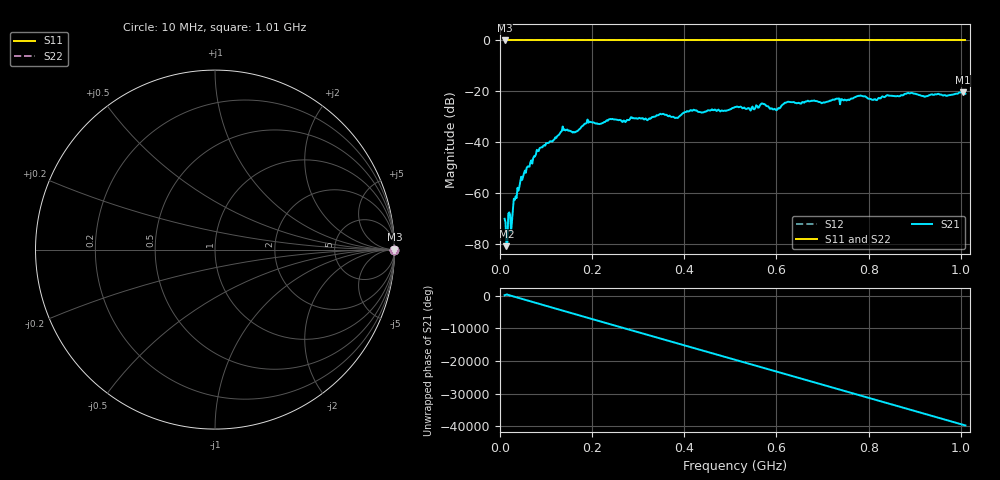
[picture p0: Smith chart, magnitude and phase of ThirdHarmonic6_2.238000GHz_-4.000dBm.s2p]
! 8/17/2025 2:35:48 AM
! C:\ANRITSUVNA\TEMP\TEMP.S2P
! CHANNEL.1
! TR.MEASUREMENT
! RAW.DATA
! RF.CORRECTION.OFF
! AVERAGING.OFF
! IF.BANDWIDTH: 5KHZ
! SWEEPTYPE:  FREQ.SWEEP(Linear)
! Reference Plane Port Info
! PORT:  PORT1  PORT2
! DISTANCE:  0  m  0  m
! TIME:  0  s  0  s
! PHASE.OFFSET:  0  deg.  0  deg.
! LOSS:  0  dB  0  dB
! REF.LOSS:  0  dB  0  dB
! REF.FREQ:  0  Hz  0  Hz
! Power Info
! POWER:  -20  dBm  -20  dBm
! EFF.POWER:  -20  dBm  -20  dBm
! SOURCE.ATTEN:  0  dB  0  dB
! TEST.ATTEN:  0  dB  0  dB
# GHZ S RI R 50.0
! FREQ.GHZ  S11RE  S11IM  S21RE  S21IM  S12RE  S12IM  S22RE  S22IM
!; PortSelection: Port_12
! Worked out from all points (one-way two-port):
!   501 points, 10 MHz to 1.01 GHz, reference 50 ohm
!   highest |S21| = -20.33 dB at 1.004 GHz (marker M1); lowest = -80.9 dB at 14 MHz (marker M2)
!   lowest |S11| = 0.0 dB at 10 MHz (marker M3)
!   |S11| at or under -10 dB: nowhere
!   |S22| runs from 0.0 to 0.0 dB; largest |S21 - S12| = 1.1
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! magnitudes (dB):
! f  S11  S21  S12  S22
! 10 MHz  0.0  -70.2  0.0  0.0
! 14 MHz  0.0  -80.9  0.0  0.0
! 26 MHz  0.0  -70.9  0.0  0.0
! 34 MHz  0.0  -61.3  0.0  0.0
! 48 MHz  0.0  -54.9  0.0  0.0
! 84 MHz  0.0  -43.5  0.0  0.0
! 136 MHz  0.0  -33.9  0.0  0.0
! 162 MHz  0.0  -36.2  0.0  0.0
! 178 MHz  0.0  -33.8  0.0  0.0
! 194 MHz  0.0  -31.9  0.0  0.0
! 344 MHz  0.0  -29.4  0.0  0.0
! 384 MHz  0.0  -30.5  0.0  0.0
! 416 MHz  0.0  -27.6  0.0  0.0
! 510 MHz  0.0  -26.2  0.0  0.0
! 548 MHz  0.0  -26.0  0.0  0.0
! 570 MHz  0.0  -24.8  0.0  0.0
! 598 MHz  0.0  -27.2  0.0  0.0
! 622 MHz  0.0  -24.3  0.0  0.0
! 678 MHz  0.0  -23.8  0.0  0.0
! 844 MHz  0.0  -21.7  0.0  0.0
! 1.004 GHz  0.0  -20.3  0.0  0.0
! 1.01 GHz  0.0  -21.0  0.0  0.0
